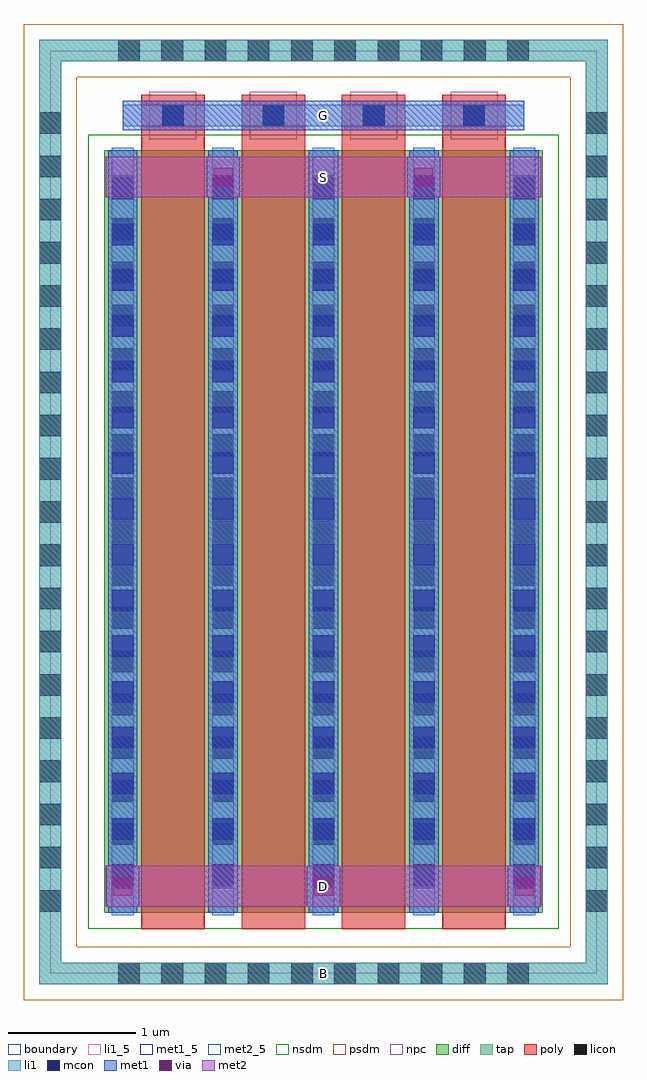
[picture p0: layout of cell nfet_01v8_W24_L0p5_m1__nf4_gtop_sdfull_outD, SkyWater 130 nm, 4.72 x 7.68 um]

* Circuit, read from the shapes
.subckt nfet_01v8_W24_L0p5_m1__nf4_gtop_sdfull_outD B D G S
XM1 S G D B sky130_fd_pr__nfet_01v8 w=6 l=0.5 m=4
.ends

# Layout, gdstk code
import gdstk
lib = gdstk.Library(unit=1e-6, precision=1e-09)
def R(c, l, rs):  # rectangles x0, y0, x1, y1
    for r in rs: c.add(gdstk.rectangle(r[:2], r[2:], *l))
def A(c, l, x, y, w, h, nx, ny, dx, dy):  # array of equal rectangles
    R(c, l, [(x+i*dx, y+j*dy, x+i*dx+w, y+j*dy+h) for i in range(nx) for j in range(ny)])
diff = (65, 20)
tap = (65, 44)
poly = (66, 20)
licon = (66, 44)
li1_5 = (67, 5)
li1 = (67, 20)
mcon = (67, 44)
met1_5 = (68, 5)
met1 = (68, 20)
via = (68, 44)
met2_5 = (69, 5)
met2 = (69, 20)
nsdm = (93, 44)
psdm = (94, 20)
npc = (95, 20)
boundary = (235, 4)

sky130_fd_pr__nfet_01v8_ = lib.new_cell('sky130_fd_pr__nfet_01v8_BUZ9G4')
R(sky130_fd_pr__nfet_01v8_, diff, [(-1.725,-3.155,1.725,2.845)])
R(sky130_fd_pr__nfet_01v8_, tap, [(-2.235,-3.715,2.235,-3.545), (-2.235,-3.545,-2.065,3.545), (2.065,-3.545,2.235,3.545), (-2.235,3.545,2.235,3.715)])
A(sky130_fd_pr__nfet_01v8_, poly, -1.435, -3.285, 0.5, 6.57, 4, 1, 0.79, 0)
A(sky130_fd_pr__nfet_01v8_, licon, -1.615, -3.715, 0.17, 0.17, 10, 2, 0.34, 7.26)
A(sky130_fd_pr__nfet_01v8_, licon, -2.235, -3.145, 0.17, 0.17, 1, 19, 0, 0.34)
A(sky130_fd_pr__nfet_01v8_, licon, 2.065, -3.145, 0.17, 0.17, 1, 19, 0, 0.34)
A(sky130_fd_pr__nfet_01v8_, licon, -1.665, -2.96, 0.17, 0.17, 5, 17, 0.79, 0.34)
A(sky130_fd_pr__nfet_01v8_, licon, -1.27, 3.035, 0.17, 0.17, 4, 1, 0.79, 0)
A(sky130_fd_pr__nfet_01v8_, li1, -1.665, -3.175, 0.17, 6.04, 5, 1, 0.79, 0)
R(sky130_fd_pr__nfet_01v8_, li1, [(-2.235,-3.715,2.235,-3.545), (-2.235,-3.545,-2.065,3.545), (2.065,-3.545,2.235,3.545), (-1.58,3.035,1.58,3.205), (-2.235,3.545,2.235,3.715)])
A(sky130_fd_pr__nfet_01v8_, mcon, -1.665, -2.94, 0.17, 0.17, 5, 16, 0.79, 0.36)
A(sky130_fd_pr__nfet_01v8_, mcon, -1.27, 3.035, 0.17, 0.17, 4, 1, 0.79, 0)
A(sky130_fd_pr__nfet_01v8_, met1, -1.695, -3.155, 0.23, 6, 5, 1, 0.79, 0)
A(sky130_fd_pr__nfet_01v8_, met1, -1.415, 3.005, 0.46, 0.03, 4, 2, 0.79, 0.2)
R(sky130_fd_pr__nfet_01v8_, met1, [(-1.58,3.035,1.58,3.205)])
R(sky130_fd_pr__nfet_01v8_, nsdm, [(-1.85,-3.28,1.85,2.97)])
R(sky130_fd_pr__nfet_01v8_, psdm, [(-2.36,-3.84,2.36,-3.42), (-2.36,-3.42,-1.94,3.42), (1.94,-3.42,2.36,3.42), (-2.36,3.42,2.36,3.84)])
A(sky130_fd_pr__nfet_01v8_, npc, -1.37, 2.935, 0.37, 0.37, 4, 1, 0.79, 0)
R(sky130_fd_pr__nfet_01v8_, boundary, [(-2.15,-3.63,2.15,3.63)])
sky130_fd_pr__nfet_01v8_.add(gdstk.Label('B', (0,-3.63), layer=67, texttype=5))
sky130_fd_pr__nfet_01v8_.add(gdstk.Label('D0', (-1.58,-0.155), layer=67, texttype=5))
sky130_fd_pr__nfet_01v8_.add(gdstk.Label('G', (1.185,3.12), layer=67, texttype=5))
sky130_fd_pr__nfet_01v8_.add(gdstk.Label('G', (0.395,3.12), layer=67, texttype=5))
sky130_fd_pr__nfet_01v8_.add(gdstk.Label('G', (-0.395,3.12), layer=67, texttype=5))
sky130_fd_pr__nfet_01v8_.add(gdstk.Label('G', (-1.185,3.12), layer=67, texttype=5))
sky130_fd_pr__nfet_01v8_.add(gdstk.Label('S1', (-0.79,-0.155), layer=67, texttype=5))
sky130_fd_pr__nfet_01v8_.add(gdstk.Label('D2', (0,-0.155), layer=67, texttype=5))
sky130_fd_pr__nfet_01v8_.add(gdstk.Label('S3', (0.79,-0.155), layer=67, texttype=5))

nfet_01v8_w24_l0p5_m1__n = lib.new_cell('nfet_01v8_W24_L0p5_m1__nf4_gtop_sdfull_outD')
R(nfet_01v8_w24_l0p5_m1__n, li1_5, [(2.065,-0.085,2.235,0.085)])
R(nfet_01v8_w24_l0p5_m1__n, li1, [(2.065,-0.085,2.235,0.085)])
R(nfet_01v8_w24_l0p5_m1__n, met1_5, [(0.57,6.635,3.73,6.865)])
A(nfet_01v8_w24_l0p5_m1__n, met1, 0.44, 0.525, 0.26, 0.32, 3, 1, 1.58, 0)
R(nfet_01v8_w24_l0p5_m1__n, met1, [(1.23,6.105,1.49,6.425), (2.81,6.105,3.07,6.425), (0.57,6.635,3.73,6.865)])
A(nfet_01v8_w24_l0p5_m1__n, via, 0.495, 0.61, 0.15, 0.15, 3, 1, 1.58, 0)
R(nfet_01v8_w24_l0p5_m1__n, via, [(1.285,6.19,1.435,6.34), (2.865,6.19,3.015,6.34)])
R(nfet_01v8_w24_l0p5_m1__n, met2_5, [(0.435,0.525,3.865,0.845), (0.435,6.105,3.865,6.425)])
R(nfet_01v8_w24_l0p5_m1__n, met2, [(0.435,0.525,3.865,0.845), (0.435,6.105,3.865,6.425)])
nfet_01v8_w24_l0p5_m1__n.add(gdstk.Reference(sky130_fd_pr__nfet_01v8_, (2.15,3.63)))
nfet_01v8_w24_l0p5_m1__n.add(gdstk.Label('S', (2.15,6.265), layer=69, texttype=5))
nfet_01v8_w24_l0p5_m1__n.add(gdstk.Label('D', (2.15,0.685), layer=69, texttype=5))
nfet_01v8_w24_l0p5_m1__n.add(gdstk.Label('G', (2.15,6.75), layer=68, texttype=5))
nfet_01v8_w24_l0p5_m1__n.add(gdstk.Label('B', (2.15,0), layer=67, texttype=5))

lib.write_gds('nfet_01v8_W24_L0p5_m1__nf4_gtop_sdfull_outD.gds')
